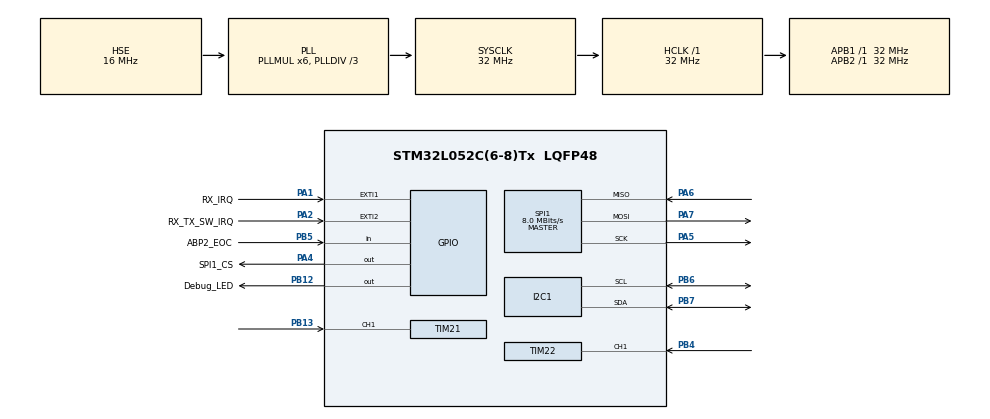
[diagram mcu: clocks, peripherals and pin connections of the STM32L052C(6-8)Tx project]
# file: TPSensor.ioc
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I2C1.Timing=0x00B07CB4
Mcu.Family=STM32L0
Mcu.Name=STM32L052C(6-8)Tx
Mcu.Package=LQFP48
NVIC.EXTI0_1_IRQn=true\:0\:0\:false\:false\:true\:true\:true\:true
NVIC.EXTI2_3_IRQn=true\:0\:0\:false\:false\:true\:true\:true\:true
NVIC.RTC_IRQn=true\:0\:0\:false\:false\:true\:true\:true\:true
NVIC.TIM21_IRQn=true\:0\:0\:false\:false\:true\:true\:true\:true
NVIC.TIM22_IRQn=true\:0\:0\:false\:false\:true\:true\:true\:true
PA1.GPIO_Label=RX_IRQ
PA1.GPIO_ModeDefaultEXTI=GPIO_MODE_IT_FALLING
PA1.GPIO_PuPd=GPIO_PULLDOWN
PA1.Signal=GPXTI1
PA13.Mode=Serial_Wire
PA13.Signal=SYS_SWDIO
PA14.Mode=Serial_Wire
PA14.Signal=SYS_SWCLK
PA2.GPIO_Label=RX_TX_SW_IRQ
PA2.GPIO_ModeDefaultEXTI=GPIO_MODE_IT_RISING_FALLING
PA2.GPIO_PuPd=GPIO_PULLDOWN
PA2.Signal=GPXTI2
PA4.GPIO_Label=SPI1_CS
PA4.GPIO_Speed=GPIO_SPEED_FREQ_HIGH
PA4.Signal=GPIO_Output
PA5.Mode=Full_Duplex_Master
PA5.Signal=SPI1_SCK
PA6.Mode=Full_Duplex_Master
PA6.Signal=SPI1_MISO
PA7.Mode=Full_Duplex_Master
PA7.Signal=SPI1_MOSI
PB12.GPIO_Label=Debug_LED
PB12.Signal=GPIO_Output
PB13.Signal=S_TIM21_CH1
PB4.Signal=S_TIM22_CH1
PB5.GPIO_Label=ABP2_EOC
PB5.Signal=GPIO_Input
PB6.Mode=I2C
PB6.Signal=I2C1_SCL
PB7.Mode=I2C
PB7.Signal=I2C1_SDA
PH0-OSC_IN.Mode=HSE-External-Oscillator
PH0-OSC_IN.Signal=RCC_OSC_IN
PH1-OSC_OUT.Mode=HSE-External-Oscillator
PH1-OSC_OUT.Signal=RCC_OSC_OUT
ProjectManager.HeapSize=0x200
ProjectManager.StackSize=0x400
ProjectManager.TargetToolchain=STM32CubeIDE
RCC.AHBFreq_Value=32000000
RCC.APB1Freq_Value=32000000
RCC.APB1TimFreq_Value=32000000
RCC.APB2Freq_Value=32000000
RCC.APB2TimFreq_Value=32000000
RCC.HCLKFreq_Value=32000000
RCC.HSE_VALUE=16000000
RCC.HSI16_VALUE=16000000
RCC.HSI48_VALUE=48000000
RCC.HSI_VALUE=16000000
RCC.LSE_VALUE=32768
RCC.MSI_VALUE=2097000
RCC.PLLDIV=RCC_PLLDIV_3
RCC.PLLMUL=RCC_PLLMUL_6
RCC.PLLSourceVirtual=RCC_PLLSOURCE_HSE
RCC.SYSCLKFreq_VALUE=32000000
RCC.SYSCLKSource=RCC_SYSCLKSOURCE_PLLCLK
RCC.VCOOutputFreq_Value=96000000
RTC.SynchPrediv=288
RTC.WakeUpClock-WakeUp=RTC_WAKEUPCLOCK_CK_SPRE_16BITS
SH.S_TIM21_CH1.0=TIM21_CH1,Input_Capture1_from_TI1
SH.S_TIM22_CH1.0=TIM22_CH1,Input_Capture1_from_TI1
SPI1.BaudRatePrescaler=SPI_BAUDRATEPRESCALER_4
SPI1.CalculateBaudRate=8.0 MBits/s
SPI1.Direction=SPI_DIRECTION_2LINES
SPI1.Mode=SPI_MODE_MASTER
SPI1.VirtualType=VM_MASTER
TIM21.AutoReloadPreload=TIM_AUTORELOAD_PRELOAD_DISABLE
TIM21.Channel-Input_Capture1_from_TI1=TIM_CHANNEL_1
TIM21.Period=500-1
TIM21.Prescaler=32000-1
TIM22.Channel-Input_Capture1_from_TI1=TIM_CHANNEL_1
TIM22.Period=10000-1
TIM22.Prescaler=32000-1
VP_RTC_VS_RTC_Activate.Mode=RTC_Enabled
VP_RTC_VS_RTC_WakeUp_intern.Mode=WakeUp
VP_TIM21_VS_ClockSourceINT.Mode=Internal
VP_TIM22_VS_ClockSourceINT.Mode=Internal
board=custom

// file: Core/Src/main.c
/* USER CODE BEGIN Header */
/**
  ******************************************************************************
  * @file           : main.c
  * @brief          : Main program body
  ******************************************************************************
  * @attention
  *
  * Copyright (c) 2025 STMicroelectronics.
  * All rights reserved.
  *
  * This software is licensed under terms that can be found in the LICENSE file
  * in the root directory of this software component.
  * If no LICENSE file comes with this software, it is provided AS-IS.
  *
  ******************************************************************************
  */
/* USER CODE END Header */
#include "main.h"

/* USER CODE BEGIN Includes */
#include "string.h"
#include "math.h"
#include "type_conv.h"
#include "abp2.h"
#include "cc1101.h"
/* USER CODE END Includes */

/* USER CODE BEGIN PTD */

//address offset in eeprom
typedef enum {
	// U8 Values
	EE_ADDR_SENSOR_ID = 			0x00,
	EE_ADDR_SENSOR_TYPE = 			0x01,
	// U32 Values
	EE_ADDR_STORAGE_SAMPLE =		0x10,
	EE_ADDR_TRANS_SAMPLE =			0x14,
	EE_ADDR_TRANS_TX =				0x18,
	EE_ADDR_STATIC_SAMPLE =			0x1C,
	EE_ADDR_STATIC_TX =				0x20,
	// float
	EE_ADDR_THRESH1 =				0x30,
	EE_ADDR_THRESH2 =				0x34,
	EE_ADDR_CHANGE =				0x38
}ee_offset_t;

typedef enum {
	PRO_MODE_OPERATION = 		0x01,
	PRO_MODE_PROGRAMMING = 		0x02
} pro_mode_t;

typedef enum {
	PRO_CMD_SENSOR_ID = 				0x01,
	PRO_CMD_SENSOR_TYPE = 				0x02,
	PRO_CMD_STORAGE_SAMPLE = 			0x10,
	PRO_CMD_TRANS_SAMPLE = 				0x11,
	PRO_CMD_TRANS_TX = 					0x12,
	PRO_CMD_STATIC_SAMPLE = 			0x13,
	PRO_CMD_STATIC_TX = 				0x14,
	PRO_CMD_PRESS_THRESH1 = 			0x20,
	PRO_CMD_PRESS_THRESH2 = 			0x21,
	PRO_CMD_PRESS_THRESH_CHANGE = 		0x22,
	PRO_CMD_READ_ALL =					0x50
} pro_cmd_t;

typedef enum {
	OP_MODE_STORAGE = 			0x01,
	OP_MODE_TRANSIENT = 		0x02,
	OP_MODE_STATIC =			0x03
} op_mode_t;

typedef struct {
	uint8_t sensorid;						//this is the default sensorid the current id is stored in eeprom
	uint8_t sensortype;						//0x01 = tyre pressure | 0x02 = brake disk pressure (to be implemented)
	uint32_t storage_time_sample;			//sample rate tx (ms) in transient mode
	uint32_t trans_time_tx;					//sample rate tx (ms) in transient mode
	uint32_t trans_time_sample;				//sample rate abp2 read (ms) in transient mode
	uint32_t static_time_tx;				//sample rate tx (ms) in transient mode
	uint32_t static_time_sample;			//sample rate abp2 read (ms) in transient mode
	float trans_press_thresh1;				//move from storage into transient mode
	float trans_press_thresh2;				//move from transient mode into storage mode
	float trans_press_change;				//minimum pressure change to move to transient mode
}eeprom_conf_t;

typedef struct {
    float y;            // filtered value
    float alpha;        // smaller value -> more smoothing
} ema_t;

/* USER CODE END PTD */

/* USER CODE BEGIN PD */

#define ABP2_I2C_ID				0x28
#define TX_FIFO_EEPROM_LEN		36
#define TX_FIFO_DATA_LEN		14
#define RX_FIFO_EEPROM_LEN		7		// cmd, uint32 data, lqi, rssi
#define RESPONSE_DELAY 			100		// delay in ms when responding to request (wait for other CC1101 to settle in RX)

/* USER CODE END PD */

I2C_HandleTypeDef hi2c1;

RTC_HandleTypeDef hrtc;

SPI_HandleTypeDef hspi1;

TIM_HandleTypeDef htim21;
TIM_HandleTypeDef htim22;

/* USER CODE BEGIN PV */

//===========Programmable variables========
eeprom_conf_t eeprom_conf = {
    .sensorid            = 0x10,
    .sensortype          = 0x01,   // 0x01 = tyre pressure
    .storage_time_sample = 5000,
    .trans_time_tx       = 1000,
    .trans_time_sample   = 100,
    .static_time_tx      = 10000,
    .static_time_sample  = 100,
    .trans_press_thresh1 = 0.6f,
    .trans_press_thresh2 = 0.5f,
    .trans_press_change  = 0.0f,
};

//==============Gereral variables==========
pro_mode_t programming_mode = PRO_MODE_OPERATION;
op_mode_t operational_mode = OP_MODE_TRANSIENT;
op_mode_t operational_mode_old = OP_MODE_TRANSIENT;
bool pro_mode_changed = false;
bool op_mode_changed = false;
ema_t ema_pressure = {0, 0.5};
ema_t ema_temperature = {20, 0.5};

//==============ABP2 Variables=============
abp2_t abp2;
float abp2_pressure = 0.0f;
float abp2_pressure_change = 0.0f;
float abp2_temperature = 0.0f;
abp2_status abp2status;
uint8_t abp2status_raw = 0;
bool abp2_sample_ready = false;
uint32_t abp2_sample_timer = 100;

//============CC1101 TX Variables==========
cc1101_t cc1101;
uint8_t tx_fifo_eeprom[TX_FIFO_EEPROM_LEN] = {};
uint8_t tx_fifo_data[TX_FIFO_DATA_LEN] = {};
uint8_t debug_tx_counter = 0;
cc1101_marc_state marcstate = CC1101_MARC_SLEEP;
bool Init_complete = false;
uint32_t tx_duration = 0;
bool tx_ready = false;
uint32_t tx_timer = 1000;

//============CC1101 RX variables==========
uint8_t rx_bytes = 0x00;
uint8_t rx[RX_FIFO_EEPROM_LEN] = {0};
bool rx_received = false;
uint8_t rx_length = 0x00;

//=============Debug variables=============
uint8_t debug_status_part = 0;
uint8_t debug_status_ver = 0;
uint8_t debug_reg_all_before[46] = {0};
uint8_t debug_reg_all_after[46] = {0};
cc1101_tx_power cc1101_power_ramp[8] = {CC1101_TX_M30dB, CC1101_TX_M20dB, CC1101_TX_M15dB, CC1101_TX_M10dB, CC1101_TX_0dB, CC1101_TX_5dB, CC1101_TX_7dB, CC1101_TX_10dB};
//cc1101_tx_power cc1101_power_ramp[1] = {CC1101_TX_10dB};
uint32_t debug_timer_tick = 0;
uint32_t debug_time_ms = 0;

pro_cmd_t debug_pro_cmd;
uint8_t debug_cmd_data[4] = {0};
uint8_t debug_rx_counter = 0;
uint8_t debug_pktstatus = 0x00;

uint8_t debug_tx_bytes1 = 0xFF;
uint8_t debug_tx_bytes2 = 0xFF;

/* USER CODE END PV */

void SystemClock_Config(void);
static void MX_GPIO_Init(void);
static void MX_I2C1_Init(void);
static void MX_SPI1_Init(void);
static void MX_RTC_Init(void);
static void MX_TIM21_Init(void);
static void MX_TIM22_Init(void);
/* USER CODE BEGIN PFP */

static void Settings_LoadOrInit(bool firstcall, eeprom_conf_t *e);

static float ema_push(ema_t *f, float val);
static void ema_set_alpha(ema_t *f, float dt_s, float tau_s);

static void SetTimer(TIM_HandleTypeDef *htim, uint32_t timer_ms);
static void DeepSleep(uint32_t timer_s);

static void Send_Data(eeprom_conf_t e, float pressure, float temperature);
static void Send_EEPROM(eeprom_conf_t e);
static void Read_Programming_CMD(void);
static void Write_Programming(uint8_t *buf, eeprom_conf_t *e);

static void Select_Mode(void);
static void CreateTx_DataFrame(uint8_t *frame, uint8_t power, eeprom_conf_t e, float pressure, float temperature);
static void CreateTx_EEPROMFrame(uint8_t *frame, uint8_t power, eeprom_conf_t e);

/* USER CODE END PFP */

/* USER CODE BEGIN 0 */

void HAL_GPIO_EXTI_Callback(uint16_t GPIO_Pin)
{
	if (Init_complete)
	{
		if (GPIO_Pin == RX_TX_SW_IRQ_Pin)
		{
			Select_Mode();
		}

		else if (GPIO_Pin == RX_IRQ_Pin)
		{
			rx_received = true;
		}
	}
}

void HAL_RTCEx_WakeUpTimerEventCallback(RTC_HandleTypeDef *hrtc)
{
	abp2_sample_ready = true;      // nur Flag setzen
}

void HAL_TIM_PeriodElapsedCallback(TIM_HandleTypeDef *htim)
{
    if (htim == &htim21) {
        abp2_sample_ready = true;      // nur Flag setzen
    }
    else if (htim == &htim22)
    {
    	tx_ready = true;
    }
}

/* USER CODE END 0 */

int main(void)
{

  /* MCU Configuration--------------------------------------------------------*/

  /* Reset of all peripherals, Initializes the Flash interface and the Systick. */
  HAL_Init();

  /* Configure the system clock */
  SystemClock_Config();

  /* Initialize all configured peripherals */
  MX_GPIO_Init();
  MX_I2C1_Init();
  MX_SPI1_Init();
  MX_RTC_Init();
  MX_TIM21_Init();
  MX_TIM22_Init();
  /* USER CODE BEGIN 2 */

  Settings_LoadOrInit(false, &eeprom_conf);		//true write first time to eeprom, flase read from eeprom

  //Start Timers
  HAL_TIM_Base_Start_IT(&htim21);
  HAL_TIM_Base_Start_IT(&htim22);

  // ABP2 Init (Address 0x28)
  ABP2_Init(&abp2, &hi2c1, ABP2_I2C_ID);

  // CC1101 Init
  CC1101_Init(&cc1101, &hspi1, SPI1_CS_GPIO_Port, SPI1_CS_Pin);

  // CC1101 Debugging tests
  CC1101_read_status(&cc1101, CC1101_STATUS_PARTNUM, &debug_status_part);
  CC1101_read_status(&cc1101, CC1101_STATUS_VERSION, &debug_status_ver);

  // CC1101 Configuration
  CC1101_read_register_burst(&cc1101, CC1101_REG_IOCFG2, debug_reg_all_before, 46);
  CC1101_Apply433_38k4(&cc1101);
  CC1101_read_register_burst(&cc1101, CC1101_REG_IOCFG2, debug_reg_all_after, 46);

  // CC1101 Prepare for tx/rx will be perfomed at start of main wile loop

  Init_complete = true;

  Select_Mode();		//init programming mode

  /* USER CODE END 2 */

  /* Infinite loop */
  while (1)
  {

    /* USER CODE BEGIN 3 */
	//==================================Programming Mode========================================
	if (pro_mode_changed)	//change rx/tx state depending on current mode (programming vs operational)
	{						//changing the mode directly in IRQ function is not adviced (because CC1101 mode might get stuck)
	    if (HAL_GPIO_ReadPin(RX_TX_SW_IRQ_GPIO_Port, RX_TX_SW_IRQ_Pin) == GPIO_PIN_SET)
	    {
	    	CC1101_EnterRx(&cc1101);
	    }
	    else
	    {
	    	CC1101_PrepareTx(&cc1101);
	    }
	    pro_mode_changed = false;
	}

	if (programming_mode == PRO_MODE_OPERATION)
	{

		//=================================Operating Mode============================================
		op_mode_changed = (operational_mode_old != operational_mode);
		operational_mode_old = operational_mode;
		abp2_pressure_change = 0;//fabs(abp2_pressure - ema_pressure.y);

		if (op_mode_changed)		// Only execute once if mode changes
		{
			switch (operational_mode)
			{
			case OP_MODE_STORAGE:
				ema_set_alpha(&ema_pressure, eeprom_conf.storage_time_sample, eeprom_conf.storage_time_sample);		//set alpha
				// In deployment go to deep sleep and stop timers
				SetTimer(&htim21, eeprom_conf.storage_time_sample);													//Set Timer for Sample Speed
				SetTimer(&htim22, eeprom_conf.static_time_tx);														//Set Timer for TX Speed
				break;

			case OP_MODE_TRANSIENT:
				ema_set_alpha(&ema_pressure, eeprom_conf.trans_time_sample, eeprom_conf.trans_time_tx);				//set alpha
				SetTimer(&htim21, eeprom_conf.trans_time_sample);													//Set Timer for Sample Speed
				SetTimer(&htim22, eeprom_conf.trans_time_tx);														//Set Timer for TX Speed
				break;

			case OP_MODE_STATIC:
				ema_set_alpha(&ema_pressure, eeprom_conf.static_time_sample, eeprom_conf.static_time_tx);			//set alpha
				SetTimer(&htim21, eeprom_conf.static_time_sample);													//Set Timer for Sample Speed
				SetTimer(&htim22, eeprom_conf.static_time_tx);														//Set Timer for TX Speed
				break;
			}
		}

		switch (operational_mode)		// Execute perodically (induced by timer set above)
		{
		case OP_MODE_STORAGE:			// Operation Mode read sensor data & send data

			if (true)		// abp2_sample_ready
			{
				abp2status = ABP2_ReadAll(&abp2, &abp2_pressure, &abp2_temperature, &abp2status_raw);
				ema_push(&ema_pressure, abp2_pressure);
				//DeepSleep(5);
				HAL_Delay(2000);	//Remove with stop mode, and wake up with
				debug_timer_tick = __HAL_TIM_GET_COUNTER(&htim21);
			}

			// Condition change
			if (abp2_pressure > eeprom_conf.trans_press_thresh1)
			{
				if (abp2_pressure_change > eeprom_conf.trans_press_change)
				{
					operational_mode = OP_MODE_TRANSIENT;
				}
				else
				{
					operational_mode = OP_MODE_STATIC;
				}
			}
			break;

		case OP_MODE_TRANSIENT:

			if (abp2_sample_ready)
			{
				abp2status = ABP2_ReadAll(&abp2, &abp2_pressure, &abp2_temperature, &abp2status_raw);
				ema_push(&ema_pressure, abp2_pressure);
				abp2_sample_ready = false;
				//start new timer
			}

			if (tx_ready)
			{
				CC1101_PrepareTx(&cc1101);
				Send_Data(eeprom_conf, ema_pressure.y, ema_temperature.y);
				CC1101_EnterSleep(&cc1101);
				tx_ready = false;
			}

			//Condition change
			if (abp2_pressure_change > eeprom_conf.trans_press_change)
			{
				operational_mode = OP_MODE_TRANSIENT;
			}
			else if (abp2_pressure < eeprom_conf.trans_press_thresh2)
			{
				operational_mode = OP_MODE_STORAGE;
			}
			break;

		case OP_MODE_STATIC:

			if (abp2_sample_ready)
			{
				abp2status = ABP2_ReadAll(&abp2, &abp2_pressure, &abp2_temperature, &abp2status_raw);
				abp2_sample_ready = false;
			}

			if (tx_ready)
			{
				Send_Data(eeprom_conf, ema_pressure.y, ema_temperature.y);
				tx_ready = false;
			}

			//Condition change
			if (abp2_pressure_change > eeprom_conf.trans_press_change)
			{
				operational_mode = OP_MODE_TRANSIENT;
			}
			else if (abp2_pressure < eeprom_conf.trans_press_thresh2)
			{
				operational_mode = OP_MODE_STORAGE;
			}
			break;
		}
	}

	else if ((programming_mode == PRO_MODE_PROGRAMMING))
	{
		CC1101_read_marcstate(&cc1101, &marcstate);
		CC1101_read_status(&cc1101, CC1101_STATUS_RXBYTES, &rx_bytes);
		//receive programming data and write to eeprom and variables
		if (rx_received)
		{
			CC1101_read_status(&cc1101, CC1101_STATUS_PKTSTATUS, &debug_pktstatus);
			Read_Programming_CMD();
			rx_received = false;
		}
	}
  }
  /* USER CODE END 3 */
}

void SystemClock_Config(void)
{
  RCC_OscInitTypeDef RCC_OscInitStruct = {0};
  RCC_ClkInitTypeDef RCC_ClkInitStruct = {0};
  RCC_PeriphCLKInitTypeDef PeriphClkInit = {0};

  /** Configure the main internal regulator output voltage
  */
  __HAL_PWR_VOLTAGESCALING_CONFIG(PWR_REGULATOR_VOLTAGE_SCALE1);

  /** Initializes the RCC Oscillators according to the specified parameters
  * in the RCC_OscInitTypeDef structure.
  */
  RCC_OscInitStruct.OscillatorType = RCC_OSCILLATORTYPE_LSI|RCC_OSCILLATORTYPE_HSE;
  RCC_OscInitStruct.HSEState = RCC_HSE_ON;
  RCC_OscInitStruct.LSIState = RCC_LSI_ON;
  RCC_OscInitStruct.PLL.PLLState = RCC_PLL_ON;
  RCC_OscInitStruct.PLL.PLLSource = RCC_PLLSOURCE_HSE;
  RCC_OscInitStruct.PLL.PLLMUL = RCC_PLLMUL_6;
  RCC_OscInitStruct.PLL.PLLDIV = RCC_PLLDIV_3;
  if (HAL_RCC_OscConfig(&RCC_OscInitStruct) != HAL_OK)
  {
    Error_Handler();
  }

  /** Initializes the CPU, AHB and APB buses clocks
  */
  RCC_ClkInitStruct.ClockType = RCC_CLOCKTYPE_HCLK|RCC_CLOCKTYPE_SYSCLK
                              |RCC_CLOCKTYPE_PCLK1|RCC_CLOCKTYPE_PCLK2;
  RCC_ClkInitStruct.SYSCLKSource = RCC_SYSCLKSOURCE_PLLCLK;
  RCC_ClkInitStruct.AHBCLKDivider = RCC_SYSCLK_DIV1;
  RCC_ClkInitStruct.APB1CLKDivider = RCC_HCLK_DIV1;
  RCC_ClkInitStruct.APB2CLKDivider = RCC_HCLK_DIV1;

  if (HAL_RCC_ClockConfig(&RCC_ClkInitStruct, FLASH_LATENCY_1) != HAL_OK)
  {
    Error_Handler();
  }
  PeriphClkInit.PeriphClockSelection = RCC_PERIPHCLK_I2C1|RCC_PERIPHCLK_RTC;
  PeriphClkInit.I2c1ClockSelection = RCC_I2C1CLKSOURCE_PCLK1;
  PeriphClkInit.RTCClockSelection = RCC_RTCCLKSOURCE_LSI;
  if (HAL_RCCEx_PeriphCLKConfig(&PeriphClkInit) != HAL_OK)
  {
    Error_Handler();
  }
  HAL_RCC_MCOConfig(RCC_MCO1, RCC_MCO1SOURCE_SYSCLK, RCC_MCODIV_1);
}

static void MX_I2C1_Init(void)
{

  hi2c1.Instance = I2C1;
  hi2c1.Init.Timing = 0x00B07CB4;
  hi2c1.Init.OwnAddress1 = 0;
  hi2c1.Init.AddressingMode = I2C_ADDRESSINGMODE_7BIT;
  hi2c1.Init.DualAddressMode = I2C_DUALADDRESS_DISABLE;
  hi2c1.Init.OwnAddress2 = 0;
  hi2c1.Init.OwnAddress2Masks = I2C_OA2_NOMASK;
  hi2c1.Init.GeneralCallMode = I2C_GENERALCALL_DISABLE;
  hi2c1.Init.NoStretchMode = I2C_NOSTRETCH_DISABLE;
  if (HAL_I2C_Init(&hi2c1) != HAL_OK)
  {
    Error_Handler();
  }

  /** Configure Analogue filter
  */
  if (HAL_I2CEx_ConfigAnalogFilter(&hi2c1, I2C_ANALOGFILTER_ENABLE) != HAL_OK)
  {
    Error_Handler();
  }

  /** Configure Digital filter
  */
  if (HAL_I2CEx_ConfigDigitalFilter(&hi2c1, 0) != HAL_OK)
  {
    Error_Handler();
  }

}

static void MX_RTC_Init(void)
{

  /** Initialize RTC Only
  */
  hrtc.Instance = RTC;
  hrtc.Init.HourFormat = RTC_HOURFORMAT_24;
  hrtc.Init.AsynchPrediv = 127;
  hrtc.Init.SynchPrediv = 288;
  hrtc.Init.OutPut = RTC_OUTPUT_DISABLE;
  hrtc.Init.OutPutRemap = RTC_OUTPUT_REMAP_NONE;
  hrtc.Init.OutPutPolarity = RTC_OUTPUT_POLARITY_HIGH;
  hrtc.Init.OutPutType = RTC_OUTPUT_TYPE_OPENDRAIN;
  if (HAL_RTC_Init(&hrtc) != HAL_OK)
  {
    Error_Handler();
  }

  /** Enable the WakeUp
  */
  if (HAL_RTCEx_SetWakeUpTimer_IT(&hrtc, 0, RTC_WAKEUPCLOCK_CK_SPRE_16BITS) != HAL_OK)
  {
    Error_Handler();
  }

}

static void MX_SPI1_Init(void)
{

  /* SPI1 parameter configuration*/
  hspi1.Instance = SPI1;
  hspi1.Init.Mode = SPI_MODE_MASTER;
  hspi1.Init.Direction = SPI_DIRECTION_2LINES;
  hspi1.Init.DataSize = SPI_DATASIZE_8BIT;
  hspi1.Init.CLKPolarity = SPI_POLARITY_LOW;
  hspi1.Init.CLKPhase = SPI_PHASE_1EDGE;
  hspi1.Init.NSS = SPI_NSS_SOFT;
  hspi1.Init.BaudRatePrescaler = SPI_BAUDRATEPRESCALER_4;
  hspi1.Init.FirstBit = SPI_FIRSTBIT_MSB;
  hspi1.Init.TIMode = SPI_TIMODE_DISABLE;
  hspi1.Init.CRCCalculation = SPI_CRCCALCULATION_DISABLE;
  hspi1.Init.CRCPolynomial = 7;
  if (HAL_SPI_Init(&hspi1) != HAL_OK)
  {
    Error_Handler();
  }

}

static void MX_TIM21_Init(void)
{

  TIM_ClockConfigTypeDef sClockSourceConfig = {0};
  TIM_MasterConfigTypeDef sMasterConfig = {0};
  TIM_IC_InitTypeDef sConfigIC = {0};

  htim21.Instance = TIM21;
  htim21.Init.Prescaler = 32000-1;
  htim21.Init.CounterMode = TIM_COUNTERMODE_UP;
  htim21.Init.Period = 500-1;
  htim21.Init.ClockDivision = TIM_CLOCKDIVISION_DIV1;
  htim21.Init.AutoReloadPreload = TIM_AUTORELOAD_PRELOAD_DISABLE;
  if (HAL_TIM_Base_Init(&htim21) != HAL_OK)
  {
    Error_Handler();
  }
  sClockSourceConfig.ClockSource = TIM_CLOCKSOURCE_INTERNAL;
  if (HAL_TIM_ConfigClockSource(&htim21, &sClockSourceConfig) != HAL_OK)
  {
    Error_Handler();
  }
  if (HAL_TIM_IC_Init(&htim21) != HAL_OK)
  {
    Error_Handler();
  }
  sMasterConfig.MasterOutputTrigger = TIM_TRGO_RESET;
  sMasterConfig.MasterSlaveMode = TIM_MASTERSLAVEMODE_DISABLE;
  if (HAL_TIMEx_MasterConfigSynchronization(&htim21, &sMasterConfig) != HAL_OK)
  {
    Error_Handler();
  }
  sConfigIC.ICPolarity = TIM_INPUTCHANNELPOLARITY_RISING;
  sConfigIC.ICSelection = TIM_ICSELECTION_DIRECTTI;
  sConfigIC.ICPrescaler = TIM_ICPSC_DIV1;
  sConfigIC.ICFilter = 0;
  if (HAL_TIM_IC_ConfigChannel(&htim21, &sConfigIC, TIM_CHANNEL_1) != HAL_OK)
  {
    Error_Handler();
  }

}

static void MX_TIM22_Init(void)
{

  TIM_ClockConfigTypeDef sClockSourceConfig = {0};
  TIM_MasterConfigTypeDef sMasterConfig = {0};
  TIM_IC_InitTypeDef sConfigIC = {0};

  htim22.Instance = TIM22;
  htim22.Init.Prescaler = 32000-1;
  htim22.Init.CounterMode = TIM_COUNTERMODE_UP;
  htim22.Init.Period = 10000-1;
  htim22.Init.ClockDivision = TIM_CLOCKDIVISION_DIV1;
  htim22.Init.AutoReloadPreload = TIM_AUTORELOAD_PRELOAD_DISABLE;
  if (HAL_TIM_Base_Init(&htim22) != HAL_OK)
  {
    Error_Handler();
  }
  sClockSourceConfig.ClockSource = TIM_CLOCKSOURCE_INTERNAL;
  if (HAL_TIM_ConfigClockSource(&htim22, &sClockSourceConfig) != HAL_OK)
  {
    Error_Handler();
  }
  if (HAL_TIM_IC_Init(&htim22) != HAL_OK)
  {
    Error_Handler();
  }
  sMasterConfig.MasterOutputTrigger = TIM_TRGO_RESET;
  sMasterConfig.MasterSlaveMode = TIM_MASTERSLAVEMODE_DISABLE;
  if (HAL_TIMEx_MasterConfigSynchronization(&htim22, &sMasterConfig) != HAL_OK)
  {
    Error_Handler();
  }
  sConfigIC.ICPolarity = TIM_INPUTCHANNELPOLARITY_RISING;
  sConfigIC.ICSelection = TIM_ICSELECTION_DIRECTTI;
  sConfigIC.ICPrescaler = TIM_ICPSC_DIV1;
  sConfigIC.ICFilter = 0;
  if (HAL_TIM_IC_ConfigChannel(&htim22, &sConfigIC, TIM_CHANNEL_1) != HAL_OK)
  {
    Error_Handler();
  }

}

static void MX_GPIO_Init(void)
{
  GPIO_InitTypeDef GPIO_InitStruct = {0};

  /* GPIO Ports Clock Enable */
  __HAL_RCC_GPIOH_CLK_ENABLE();
  __HAL_RCC_GPIOA_CLK_ENABLE();
  __HAL_RCC_GPIOB_CLK_ENABLE();

  /*Configure GPIO pin Output Level */
  HAL_GPIO_WritePin(SPI1_CS_GPIO_Port, SPI1_CS_Pin, GPIO_PIN_RESET);

  /*Configure GPIO pin Output Level */
  HAL_GPIO_WritePin(Debug_LED_GPIO_Port, Debug_LED_Pin, GPIO_PIN_RESET);

  /*Configure GPIO pin : RX_IRQ_Pin */
  GPIO_InitStruct.Pin = RX_IRQ_Pin;
  GPIO_InitStruct.Mode = GPIO_MODE_IT_FALLING;
  GPIO_InitStruct.Pull = GPIO_PULLDOWN;
  HAL_GPIO_Init(RX_IRQ_GPIO_Port, &GPIO_InitStruct);

  /*Configure GPIO pin : RX_TX_SW_IRQ_Pin */
  GPIO_InitStruct.Pin = RX_TX_SW_IRQ_Pin;
  GPIO_InitStruct.Mode = GPIO_MODE_IT_RISING_FALLING;
  GPIO_InitStruct.Pull = GPIO_PULLDOWN;
  HAL_GPIO_Init(RX_TX_SW_IRQ_GPIO_Port, &GPIO_InitStruct);

  /*Configure GPIO pin : SPI1_CS_Pin */
  GPIO_InitStruct.Pin = SPI1_CS_Pin;
  GPIO_InitStruct.Mode = GPIO_MODE_OUTPUT_PP;
  GPIO_InitStruct.Pull = GPIO_NOPULL;
  GPIO_InitStruct.Speed = GPIO_SPEED_FREQ_HIGH;
  HAL_GPIO_Init(SPI1_CS_GPIO_Port, &GPIO_InitStruct);

  /*Configure GPIO pin : Debug_LED_Pin */
  GPIO_InitStruct.Pin = Debug_LED_Pin;
  GPIO_InitStruct.Mode = GPIO_MODE_OUTPUT_PP;
  GPIO_InitStruct.Pull = GPIO_NOPULL;
  GPIO_InitStruct.Speed = GPIO_SPEED_FREQ_LOW;
  HAL_GPIO_Init(Debug_LED_GPIO_Port, &GPIO_InitStruct);

  /*Configure GPIO pin : ABP2_EOC_Pin */
  GPIO_InitStruct.Pin = ABP2_EOC_Pin;
  GPIO_InitStruct.Mode = GPIO_MODE_INPUT;
  GPIO_InitStruct.Pull = GPIO_NOPULL;
  HAL_GPIO_Init(ABP2_EOC_GPIO_Port, &GPIO_InitStruct);

  /* EXTI interrupt init*/
  HAL_NVIC_SetPriority(EXTI0_1_IRQn, 0, 0);
  HAL_NVIC_EnableIRQ(EXTI0_1_IRQn);

  HAL_NVIC_SetPriority(EXTI2_3_IRQn, 0, 0);
  HAL_NVIC_EnableIRQ(EXTI2_3_IRQn);

}

/* USER CODE BEGIN 4 */

static void Settings_LoadOrInit(bool firstcall, eeprom_conf_t *e)
{
    if (firstcall)
    {
        EE_WriteU8(EE_ADDR_SENSOR_ID, e->sensorid);
        EE_WriteU8(EE_ADDR_SENSOR_TYPE, e->sensortype);

        EE_WriteU32(EE_ADDR_STORAGE_SAMPLE, e->storage_time_sample);
        EE_WriteU32(EE_ADDR_TRANS_TX, e->trans_time_tx);
        EE_WriteU32(EE_ADDR_TRANS_SAMPLE, e->trans_time_sample);
        EE_WriteU32(EE_ADDR_STATIC_TX, e->static_time_tx);
        EE_WriteU32(EE_ADDR_STATIC_SAMPLE, e->static_time_sample);

        EE_WriteF32(EE_ADDR_THRESH1, e->trans_press_thresh1);
        EE_WriteF32(EE_ADDR_THRESH2, e->trans_press_thresh2);
        EE_WriteF32(EE_ADDR_CHANGE, e->trans_press_change);
    }
    else
    {
    	e->sensorid  = EE_ReadU8(EE_ADDR_SENSOR_ID);
    	e->sensortype = EE_ReadU8(EE_ADDR_SENSOR_TYPE);

    	e->storage_time_sample = EE_ReadU32(EE_ADDR_STORAGE_SAMPLE);
    	e->trans_time_tx = EE_ReadU32(EE_ADDR_TRANS_TX);
    	e->trans_time_sample = EE_ReadU32(EE_ADDR_TRANS_SAMPLE);
    	e->static_time_tx = EE_ReadU32(EE_ADDR_STATIC_TX);
    	e->static_time_sample = EE_ReadU32(EE_ADDR_STATIC_SAMPLE);

    	e->trans_press_thresh1 = EE_ReadF32(EE_ADDR_THRESH1);
    	e->trans_press_thresh2 = EE_ReadF32(EE_ADDR_THRESH2);
    	e->trans_press_change = EE_ReadF32(EE_ADDR_CHANGE);
    }
}

static void Write_Programming(uint8_t *buf, eeprom_conf_t *e)
{
	//length is byte 0
	pro_cmd_t cmd = buf[0];
	uint8_t *data = &buf[1];

	debug_pro_cmd = cmd;
	memcpy(debug_cmd_data, buf + 2, sizeof(debug_cmd_data));

	switch (cmd)
	{
	case PRO_CMD_SENSOR_ID:
		e->sensorid = data[0];
		EE_WriteU8(EE_ADDR_SENSOR_ID, e->sensorid);
		break;

	case PRO_CMD_SENSOR_TYPE:
		e->sensortype = data[0];
		EE_WriteU8(EE_ADDR_SENSOR_TYPE, e->sensortype);
		break;

	case PRO_CMD_STORAGE_SAMPLE:
		e->storage_time_sample = Bytearray_to_UINT32(data);
		EE_WriteU32(EE_ADDR_STORAGE_SAMPLE, e->storage_time_sample);
		break;

	case PRO_CMD_TRANS_TX:
		e->trans_time_tx = Bytearray_to_UINT32(data);
		EE_WriteU32(EE_ADDR_TRANS_TX, e->trans_time_tx);
		break;

	case PRO_CMD_TRANS_SAMPLE:
		e->trans_time_sample = Bytearray_to_UINT32(data);
		EE_WriteU32(EE_ADDR_TRANS_SAMPLE, e->trans_time_sample);
		break;

	case PRO_CMD_STATIC_TX:
		e->static_time_tx = Bytearray_to_UINT32(data);
		EE_WriteU32(EE_ADDR_STATIC_TX, e->static_time_tx);
		break;

	case PRO_CMD_STATIC_SAMPLE:
		e->static_time_sample = Bytearray_to_UINT32(data);
		EE_WriteU32(EE_ADDR_STATIC_SAMPLE, e->static_time_sample);
		break;

	case PRO_CMD_PRESS_THRESH1:
		e->trans_press_thresh1 = Bytearray_to_Float(data);
		EE_WriteF32(EE_ADDR_THRESH1, e->trans_press_thresh1);
		break;

	case PRO_CMD_PRESS_THRESH2:
		e->trans_press_thresh2 = Bytearray_to_Float(data);
		EE_WriteF32(EE_ADDR_THRESH2, e->trans_press_thresh2);
		break;

	case PRO_CMD_PRESS_THRESH_CHANGE:
		e->trans_press_change = Bytearray_to_Float(data);
		EE_WriteF32(EE_ADDR_CHANGE, e->trans_press_change);
		break;

	case PRO_CMD_READ_ALL:
		HAL_Delay(RESPONSE_DELAY);
		Send_EEPROM(eeprom_conf);
		break;
	}
}

//================================= EMA ====================================

static void ema_set_alpha(ema_t *f, float dt_s, float tau_s)
{
	//set correct alpha for selected filter period
    f->alpha = 1.0f - expf(-dt_s / tau_s);
}

static float ema_push(ema_t *f, float val) {
    f->y += f->alpha * (val - f->y);
    return f->y;
}

//================================= TIMER ====================================

static void SetTimer(TIM_HandleTypeDef *htim, uint32_t timer_ms)
{
	timer_ms = timer_ms - 1;

    __HAL_TIM_DISABLE(htim);                       				// Stop Timer
    __HAL_TIM_SET_AUTORELOAD(htim, timer_ms);          			// Set Timer period
    __HAL_TIM_SET_COUNTER(htim, 0);               				// zero counter
    __HAL_TIM_CLEAR_FLAG(htim, TIM_FLAG_UPDATE);  				// remove update flag
    HAL_TIM_GenerateEvent(htim, TIM_EVENTSOURCE_UPDATE); 		// latch psc
    __HAL_TIM_ENABLE(htim);                        				// Restart Timer
}

static void DeepSleep(uint32_t timer_s)
{
    HAL_RTCEx_DeactivateWakeUpTimer(&hrtc);
    HAL_RTCEx_SetWakeUpTimer_IT(&hrtc, timer_s, RTC_WAKEUPCLOCK_CK_SPRE_16BITS);
    HAL_SuspendTick();

    HAL_PWREx_EnableUltraLowPower();
    HAL_PWREx_EnableFastWakeUp();
    HAL_PWR_EnterSTOPMode(PWR_LOWPOWERREGULATOR_ON, PWR_STOPENTRY_WFI);

    SystemClock_Config();
    HAL_ResumeTick();
}

//================================= TX ====================================

static void Send_Data(eeprom_conf_t e, float pressure, float temperature)		//Variables are defined at start to be used for debugging
{
	//CC1101 Send with all power levels
	for(int i = 0; i < sizeof(cc1101_power_ramp); i++)
	{
		CC1101_Set_Tx_power(&cc1101, cc1101_power_ramp[i]);										//ramp tx power to test rssi
		CreateTx_DataFrame(tx_fifo_data, i, e, pressure, temperature);
		CC1101_write_TX_FIFO(&cc1101, tx_fifo_data, sizeof(tx_fifo_data));
		tx_duration = CC1101_SendTx(&cc1101);													//send time, depends on data rate
		HAL_Delay(100);																			//Added Delay for testing remove for deployment
	}
	// Status read out
	debug_tx_counter++;
	CC1101_read_marcstate(&cc1101, &marcstate);
}

static void Send_EEPROM(eeprom_conf_t e)
{
	//CC1101 Send with all power levels
	CC1101_PrepareTx(&cc1101);
	for(int i = 0; i < sizeof(cc1101_power_ramp); i++)
	{
		CC1101_Set_Tx_power(&cc1101, cc1101_power_ramp[i]);								//ramp tx power to test rssi
		CreateTx_EEPROMFrame(tx_fifo_eeprom, i, e);
		CC1101_write_TX_FIFO(&cc1101, tx_fifo_eeprom, sizeof(tx_fifo_eeprom));
		CC1101_read_status(&cc1101, CC1101_STATUS_TXBYTES, &debug_tx_bytes1);
		tx_duration = CC1101_SendTx(&cc1101);
		CC1101_read_status(&cc1101, CC1101_STATUS_TXBYTES, &debug_tx_bytes2);			//send time, depends on data rate
		HAL_Delay(50);																	//Added Delay for testing remove for deployment
	}
	// Status read out
	debug_tx_counter++;
	CC1101_EnterRx(&cc1101);
	CC1101_read_marcstate(&cc1101, &marcstate);
}

//================================= RX ====================================

static void Read_Programming_CMD(void)
{
	//CC1101 RX Status
	debug_rx_counter++;
    CC1101_read_marcstate(&cc1101, &marcstate);
    if (marcstate == CC1101_MARC_RXFIFO_OVERFLOW)						//Flush FIFO and wait for new message
    {
        CC1101_Recover_RX_Overflow(&cc1101);
        return;
    }

    CC1101_read_status(&cc1101, CC1101_STATUS_RXBYTES, &rx_bytes);

	if (rx_bytes > 0)
	{
		CC1101_read_RX_FIFO(&cc1101, &rx_length, 1);					//read packet length
		CC1101_read_status(&cc1101, CC1101_STATUS_RXBYTES, &rx_bytes);	//read again because byte was read from FIFO
		rx_length = rx_length + 2;										//add rssi and lqi

		if (rx_bytes == RX_FIFO_EEPROM_LEN)
		{
			//read current packet
			CC1101_read_RX_FIFO(&cc1101, rx, rx_bytes);
			Write_Programming(rx, &eeprom_conf);
			CC1101_EnterRx(&cc1101);
		}
		else
		{
			CC1101_EnterRx(&cc1101);	//flushing fifo in RX state is not possible, so flush in idle state
		}
	}
}

//================================= IRQ ====================================

static void Select_Mode(void)
{
    if (HAL_GPIO_ReadPin(RX_TX_SW_IRQ_GPIO_Port, RX_TX_SW_IRQ_Pin) == GPIO_PIN_SET)
    {
    	programming_mode = PRO_MODE_PROGRAMMING;
    }
    else
    {
    	programming_mode = PRO_MODE_OPERATION;
    }
		pro_mode_changed = true;		//will be reset to false in main loop due to not changin cc1101 state in between main  methods
}

//================================= FIFO ====================================

static void CreateTx_DataFrame(uint8_t *frame, uint8_t power, eeprom_conf_t e, float pressure, float temperature)
{
    uint8_t i = 1;
    //power and sensor id reversde for testing
    frame[i++] = power;										//eeprom_conf.sensorid;
    frame[i++] = eeprom_conf.sensortype;
    frame[i++] = eeprom_conf.sensorid;						//power;										//add send power
    frame[i++] = debug_tx_counter;                    				//add alive counter
    frame[i++] = abp2status_raw;  								//add sensor status

    Float_to_Bytearray(&frame[i], pressure);   i += 4;		//add pressure as uint32
    Float_to_Bytearray(&frame[i], temperature);i += 4;		//add temperature as uint32

    frame[0] = i-1;											//add frame length as first byte
}

static void CreateTx_EEPROMFrame(uint8_t *frame, uint8_t power, eeprom_conf_t e)
{
    uint8_t i = 1;

    frame[i++] = e.sensorid;
    frame[i++] = e.sensortype;
    frame[i++] = power;

    UINT32_to_Bytearray(&frame[i], e.storage_time_sample);			i += 4;
    UINT32_to_Bytearray(&frame[i], e.trans_time_tx);				i += 4;
    UINT32_to_Bytearray(&frame[i], e.trans_time_sample);			i += 4;
    UINT32_to_Bytearray(&frame[i], e.static_time_tx);				i += 4;
    UINT32_to_Bytearray(&frame[i], e.static_time_sample);			i += 4;

    Float_to_Bytearray(&frame[i], e.trans_press_thresh1);   		i += 4;
    Float_to_Bytearray(&frame[i], e.trans_press_thresh2);			i += 4;
    Float_to_Bytearray(&frame[i], e.trans_press_change);			i += 4;

    frame[0] = i-1;											//add frame length as first byte
}

/* USER CODE END 4 */

void Error_Handler(void)
{
  __disable_irq();
  while (1)
  {
  }
}
